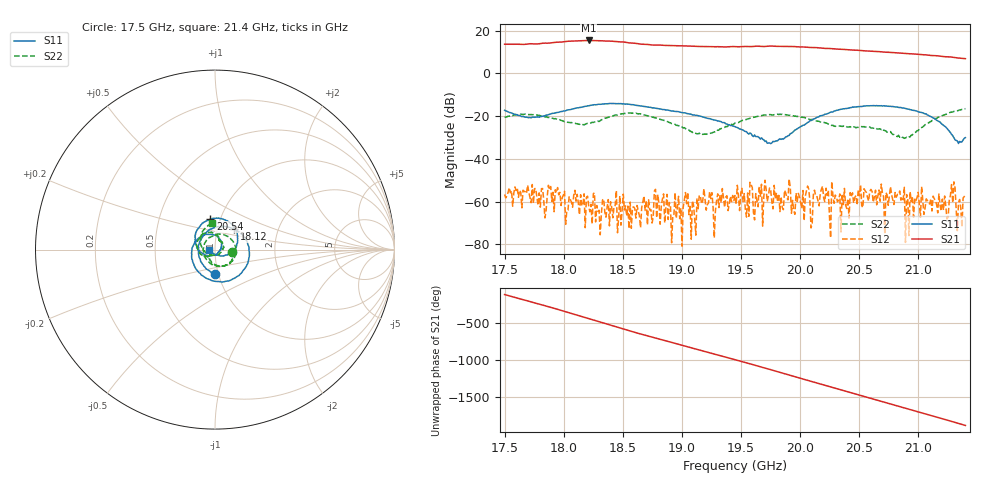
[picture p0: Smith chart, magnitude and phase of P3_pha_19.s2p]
!Created with skrf (http://scikit-rf.org).
# GHz S RI R 50.0
!freq ReS11 ImS11 ReS21 ImS21 ReS12 ImS12 ReS22 ImS22
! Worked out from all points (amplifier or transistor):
!   401 points, 17.5 GHz to 21.4 GHz, reference 50 ohm
!   highest |S21| = 15.4 dB at 18.21 GHz (marker M1)
!   |S21| within 3 dB of that: start of sweep to 19.35 GHz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
!   unconditionally stable (mu >= 1): start of sweep to end of sweep
!   at 18.14 GHz: K = 57.30, MAG = 15.4 dB, |S12| = -56.8 dB
!   at 19.45 GHz: K = 84.27, MAG = 12.6 dB, |S12| = -57.1 dB
!   at 21.4 GHz: K = 155.84, MAG = 7.0 dB, |S12| = -57.0 dB
!   S11 on the Smith chart (normalised r, x): 17.5 GHz: 0.96, -0.27; 18.12 GHz: 1.20, +0.28; 20.54 GHz: 0.90, +0.32; 21.4 GHz: 0.94, -0.01
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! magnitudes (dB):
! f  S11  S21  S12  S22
! 17.5 GHz  -17.2  13.6  -56.6  -20.5
! 18.12 GHz  -16.1  15.3  -60.6  -23.7
! 18.15 GHz  -15.8  15.3  -61.9  -23.5
! 18.21 GHz  -15.2  15.4  -62.0  -23.4
! 18.81 GHz  -16.5  13.3  -61.1  -21.3
! 19 GHz  -18.3  12.9  -80.8  -25.0
! 19.03 GHz  -18.5  12.8  -55.7  -25.8
! 19.1 GHz  -19.4  12.7  -61.6  -27.4
! 19.17 GHz  -20.2  12.6  -61.0  -28.3
! 19.28 GHz  -21.8  12.5  -64.2  -27.2
! 19.45 GHz  -24.9  12.5  -57.1  -23.2
! 19.74 GHz  -32.5  12.8  -53.6  -19.3
! 20.06 GHz  -23.0  12.2  -52.7  -21.1
! 20.1 GHz  -21.6  12.1  -70.2  -21.6
! 20.54 GHz  -15.3  10.6  -53.9  -24.9
! 20.76 GHz  -15.4  9.9  -57.1  -27.4
! 20.91 GHz  -16.7  9.3  -59.0  -30.2
! 20.99 GHz  -17.6  8.9  -58.1  -26.8
! 21.23 GHz  -25.1  7.8  -62.1  -19.2
! 21.29 GHz  -29.1  7.6  -60.5  -18.0
! 21.35 GHz  -31.8  7.2  -59.0  -17.1
! 21.4 GHz  -30.0  6.9  -57.0  -16.5
